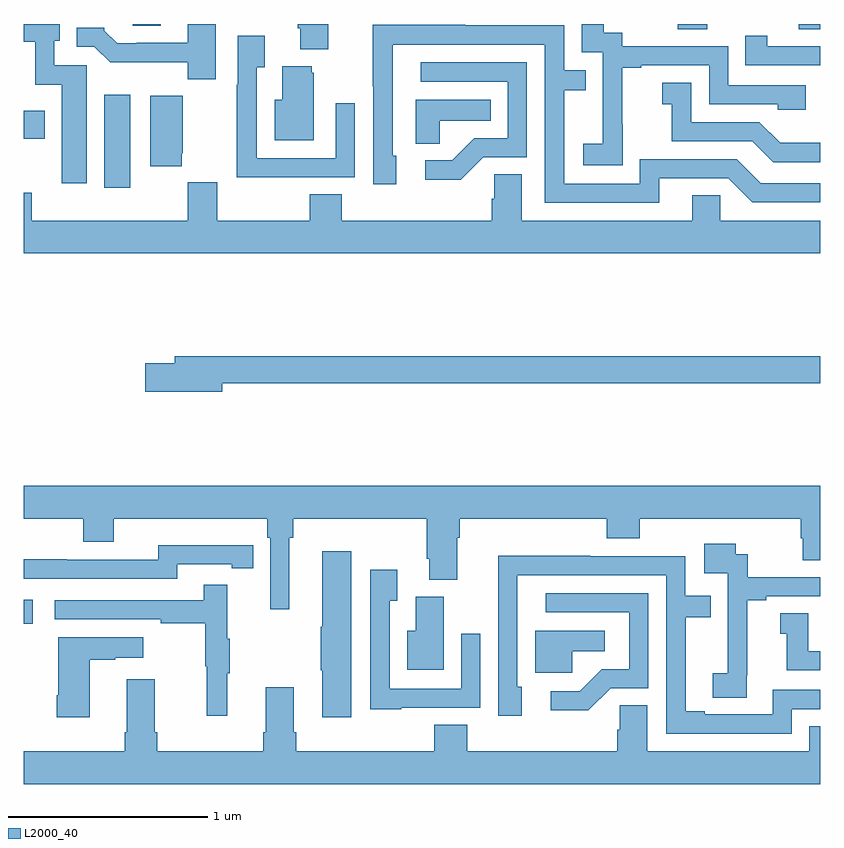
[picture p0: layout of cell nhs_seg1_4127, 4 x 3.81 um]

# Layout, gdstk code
import gdstk
lib = gdstk.Library(unit=1e-6, precision=1e-09)
def R(c, l, rs):  # rectangles x0, y0, x1, y1
    for r in rs: c.add(gdstk.rectangle(r[:2], r[2:], *l))
def P(c, l, *ps):  # polygons
    for p in ps: c.add(gdstk.Polygon(p, *l))
L2000_40 = (2000, 40)

nhs_seg1_4127 = lib.new_cell('nhs_seg1_4127')
R(nhs_seg1_4127, L2000_40, [(335,567.189,335.047,567.31), (335.405,569.376,335.536,569.845), (335,569.624,335.107,569.764), (338.285,570.172,338.433,570.199), (338.89,570.172,339,570.199), (335.549,570.19,335.689,570.199)])
P(nhs_seg1_4127, L2000_40, [(336.529,570.199),(336.377,570.199),(336.377,570.178),(336.389,570.178),(336.389,570.071),(336.529,570.071)],
  [(335.317,569.991),(335.154,569.991),(335.154,570.114),(335.182,570.114),(335.182,570.199),(335,570.199),(335,570.11),(335.058,570.11),(335.058,569.894),(335.192,569.894),(335.192,569.4),(335.317,569.4)],
  [(338.007,569.695),(338.006,569.695),(338.006,569.979),(338.101,569.979),(338.101,569.991),(338.442,569.991),(338.442,569.796),(338.787,569.796),(338.787,569.769),(338.927,569.769),(338.927,569.892),(338.538,569.892),(338.538,570.087),(338.004,570.087),(338.004,570.156),(337.912,570.156),(337.912,570.199),(337.803,570.199),(337.803,570.057),(337.908,570.057),(337.908,569.828),(337.907,569.828),(337.907,569.599),(337.809,569.599),(337.809,569.489),(338.007,569.489)],
  [(335.965,570.199),(335.825,570.199),(335.825,570.105),(335.569,570.105),(335.569,570.102),(335.47,570.102),(335.406,570.166),(335.406,570.181),(335.267,570.181),(335.267,570.084),(335.355,570.084),(335.434,570.006),(335.823,570.006),(335.823,569.921),(335.965,569.921)],
  [(338.191,569.424),(338.538,569.424),(338.658,569.304),(339,569.304),(339,569.4),(338.7,569.4),(338.58,569.52),(338.094,569.52),(338.094,569.397),(337.713,569.397),(337.713,569.866),(337.823,569.866),(337.823,569.967),(337.713,569.967),(337.713,570.192),(337.217,570.192),(337.217,570.194),(336.754,570.194),(336.754,569.887),(336.756,569.887),(336.756,569.394),(336.871,569.394),(336.871,569.538),(336.852,569.538),(336.852,570.096),(337.617,570.096),(337.617,569.301),(338.191,569.301)],
  [(339,570.087),(338.734,570.087),(338.734,570.139),(338.623,570.139),(338.623,569.991),(339,569.991)],
  [(336.347,569.43),(336.663,569.43),(336.663,569.8),(336.567,569.8),(336.567,569.526),(336.171,569.526),(336.171,569.983),(336.211,569.983),(336.211,570.139),(336.075,570.139),(336.075,569.894),(336.07,569.894),(336.07,569.429),(336.347,569.429)],
  [(337.308,569.529),(337.527,569.529),(337.527,570.006),(336.993,570.006),(336.993,569.91),(337.431,569.91),(337.431,569.625),(337.262,569.625),(337.151,569.514),(337.017,569.514),(337.017,569.417),(337.195,569.417)],
  [(336.457,569.955),(336.446,569.955),(336.446,569.986),(336.299,569.986),(336.299,569.818),(336.26,569.818),(336.26,569.615),(336.457,569.615)],
  [(339,569.602),(338.798,569.602),(338.694,569.706),(338.352,569.706),(338.352,569.905),(338.205,569.905),(338.205,569.795),(338.254,569.795),(338.254,569.61),(338.657,569.61),(338.762,569.505),(339,569.505)],
  [(335.794,569.55),(335.8,569.55),(335.8,569.691),(335.798,569.691),(335.798,569.839),(335.636,569.839),(335.636,569.485),(335.794,569.485)],
  [(337.089,569.714),(337.346,569.714),(337.346,569.818),(336.968,569.818),(336.968,569.599),(337.089,569.599)],
  [(336.436,569.345),(336.436,569.212),(335.973,569.212),(335.973,569.405),(335.825,569.405),(335.825,569.212),(335.042,569.212),(335.042,569.353),(335,569.353),(335,569.048),(339,569.048),(339,569.212),(338.496,569.212),(338.496,569.339),(338.357,569.339),(338.357,569.212),(337.501,569.212),(337.501,569.444),(337.362,569.444),(337.362,569.321),(337.349,569.321),(337.349,569.212),(336.596,569.212),(336.596,569.345)],
  [(335.998,568.396),(339,568.396),(339,568.532),(335.759,568.532),(335.759,568.496),(335.61,568.496),(335.61,568.354),(335.998,568.354)],
  [(335,567.716),(335.3,567.716),(335.3,567.599),(335.452,567.599),(335.452,567.716),(336.224,567.716),(336.224,567.62),(336.237,567.62),(336.237,567.261),(336.334,567.261),(336.334,567.62),(336.353,567.62),(336.353,567.716),(337.025,567.716),(337.025,567.514),(337.037,567.514),(337.037,567.409),(337.177,567.409),(337.177,567.62),(337.19,567.62),(337.19,567.716),(337.928,567.716),(337.928,567.617),(338.093,567.617),(338.093,567.716),(338.9,567.716),(338.9,567.618),(338.912,567.618),(338.912,567.508),(339,567.508),(339,567.88),(335,567.88)],
  [(338.63,566.929),(338.632,566.929),(338.632,567.307),(338.728,567.307),(338.728,567.327),(339,567.327),(339,567.423),(338.636,567.423),(338.636,567.537),(338.574,567.537),(338.574,567.589),(338.418,567.589),(338.418,567.441),(338.535,567.441),(338.535,567.137),(338.534,567.137),(338.534,566.94),(338.46,566.94),(338.46,566.818),(338.63,566.818)],
  [(335.772,567.486),(336.044,567.486),(336.044,567.466),(336.152,567.466),(336.152,567.582),(336.044,567.582),(336.044,567.583),(335.676,567.583),(335.676,567.51),(335.216,567.51),(335.216,567.512),(335,567.512),(335,567.414),(335.772,567.414)],
  [(336.646,567.553),(336.5,567.553),(336.5,567.173),(336.493,567.173),(336.493,566.956),(336.5,566.956),(336.5,566.718),(336.646,566.718)],
  [(338.856,566.76),(339,566.76),(339,566.856),(338.76,566.856),(338.76,566.733),(338.419,566.733),(338.419,566.748),(338.323,566.748),(338.323,567.222),(338.45,567.222),(338.45,567.33),(338.322,567.33),(338.322,567.528),(337.844,567.528),(337.844,567.53),(337.382,567.53),(337.382,567.226),(337.383,567.226),(337.383,566.727),(337.501,566.727),(337.501,566.871),(337.479,566.871),(337.479,567.432),(338.226,567.432),(338.226,566.637),(338.856,566.637)],
  [(336.897,566.766),(337.293,566.766),(337.293,567.139),(337.197,567.139),(337.197,566.862),(336.837,566.862),(336.837,567.304),(336.877,567.304),(336.877,567.46),(336.741,567.46),(336.741,566.759),(336.897,566.759)],
  [(336.023,566.939),(336.034,566.939),(336.034,567.113),(336.023,567.113),(336.023,567.385),(335.905,567.385),(335.905,567.306),(335.157,567.306),(335.157,567.21),(335.689,567.21),(335.689,567.19),(335.913,567.19),(335.913,566.976),(335.92,566.976),(335.92,566.727),(336.023,566.727)],
  [(337.947,566.865),(338.136,566.865),(338.136,567.342),(337.62,567.342),(337.62,567.246),(338.04,567.246),(338.04,566.961),(337.902,566.961),(337.791,566.85),(337.647,566.85),(337.647,566.753),(337.834,566.753)],
  [(337.108,567.324),(336.968,567.324),(336.968,567.154),(336.926,567.154),(336.926,566.957),(337.108,566.957)],
  [(339,567.051),(338.938,567.051),(338.938,567.242),(338.798,567.242),(338.798,567.139),(338.831,567.139),(338.831,566.955),(339,566.955)],
  [(337.755,567.05),(337.918,567.05),(337.918,567.154),(337.568,567.154),(337.568,566.943),(337.755,566.943)],
  [(335.332,567.007),(335.459,567.007),(335.459,567.017),(335.602,567.017),(335.602,567.121),(335.174,567.121),(335.174,566.83),(335.167,566.83),(335.167,566.718),(335.332,566.718)],
  [(339,566.675),(338.945,566.675),(338.945,566.548),(338.131,566.548),(338.131,566.78),(337.992,566.78),(337.992,566.657),(337.979,566.657),(337.979,566.548),(337.226,566.548),(337.226,566.681),(337.061,566.681),(337.061,566.548),(336.368,566.548),(336.368,566.644),(336.355,566.644),(336.355,566.869),(336.215,566.869),(336.215,566.644),(336.203,566.644),(336.203,566.548),(335.672,566.548),(335.672,566.644),(335.659,566.644),(335.659,566.911),(335.519,566.911),(335.519,566.644),(335.507,566.644),(335.507,566.548),(335,566.548),(335,566.384),(339,566.384)])

lib.write_gds('nhs_seg1_4127.gds')
